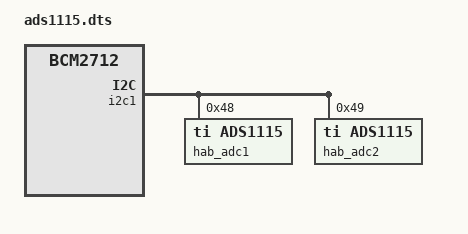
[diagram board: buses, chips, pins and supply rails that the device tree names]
/dts-v1/;
/plugin/;
/ {
	compatible = "brcm,bcm2712";
	fragment@0 {
		target = <&hab_adc1>;
		__overlay__ {
			#address-cells = <1>;
			#size-cells = <0>;
			channel@0 {
				reg = <0>;
				ti,gain = <0>;
				ti,datarate = <4>;
			};
			channel@1 {
				reg = <3>;
				ti,gain = <0>;
				ti,datarate = <4>;
			};
		};
	};

	fragment@1 {
		target = <&hab_adc2>;
		__overlay__ {
			#address-cells = <1>;
			#size-cells = <0>;
			channel@0 {
				reg = <0>;
				ti,gain = <0>;
				ti,datarate = <4>;
			};
		};
	};

	fragment@2 {
		target = <&i2c1>;
		__overlay__ {
			#address-cells = <1>;
			#size-cells = <0>;

			hab_adc1: ads1115@48 {
				compatible = "ti,ads1115";
				reg = <0x48>;
				status = "okay";

				#address-cells = <1>;
				#size-cells = <0>;
			};

			hab_adc2: ads1115@49 {
				compatible = "ti,ads1115";
				reg = <0x49>;
				status = "okay";

				#address-cells = <1>;
				#size-cells = <0>;
			};
		};
	};

};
